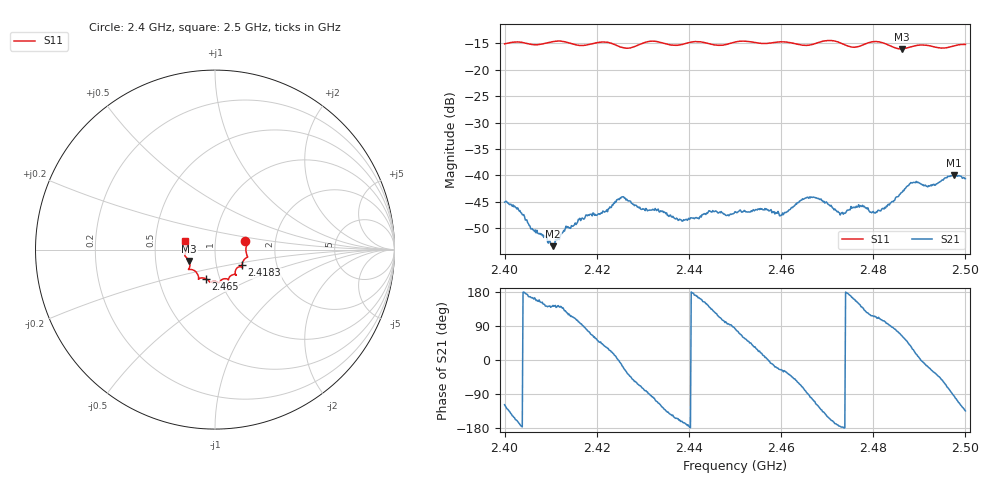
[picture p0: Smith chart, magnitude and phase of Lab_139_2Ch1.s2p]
# Hz S RI R 50
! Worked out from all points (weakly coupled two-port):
!   601 points, 2.4 GHz to 2.5 GHz, reference 50 ohm
!   highest |S21| = -39.95 dB at 2.4975 GHz (marker M1); lowest = -53.4 dB at 2.4105 GHz (marker M2)
!   lowest |S11| = -16.1 dB at 2.4862 GHz (marker M3), VSWR 1.37, Z = 37.2 - j4.84 ohm
!   |S11| at or under -10 dB: start of sweep to end of sweep
!   S12 and S22 are empty: the file has one direction only
!   S11 on the Smith chart (normalised r, x): 2.4 GHz: 1.40, +0.13; 2.4183 GHz: 1.33, -0.24; 2.465 GHz: 0.86, -0.29; 2.5 GHz: 0.71, +0.07
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2.4e9  0.1697 0.0458  -0.00262 -0.00493  0 0  0 0
2.4105e9  0.1806 -0.0371  -0.00173 0.00126  0 0  0 0
2.416667e9  0.155 -0.0682  -0.000369 0.00386  0 0  0 0
2.418333e9  0.1498 -0.0873  0.00113 0.00403  0 0  0 0
2.422e9  0.153 -0.0995  0.0038 0.00255  0 0  0 0
2.4255e9  0.1297 -0.0976  0.00603 -0.00168  0 0  0 0
2.433333e9  0.1176 -0.141  -0.00194 -0.0044  0 0  0 0
2.438167e9  0.0816 -0.1514  -0.00363 -0.00117  0 0  0 0
2.444833e9  0.0631 -0.1624  -0.00314 0.00326  0 0  0 0
2.45e9  0.0256 -0.1809  0.000576 0.00451  0 0  0 0
2.460167e9  -0.0281 -0.1815  0.00376 -0.00189  0 0  0 0
2.465e9  -0.0523 -0.1619  0.00134 -0.00586  0 0  0 0
2.466667e9  -0.0713 -0.1574  -0.00121 -0.0061  0 0  0 0
2.473333e9  -0.0921 -0.1496  -0.00445 -0.000253  0 0  0 0
2.477167e9  -0.1236 -0.1132  -0.00426 0.00295  0 0  0 0
2.480333e9  -0.1479 -0.1109  -0.00193 0.00402  0 0  0 0
2.483333e9  -0.1411 -0.0964  -0.000294 0.00533  0 0  0 0
2.486167e9  -0.1439 -0.0635  0.00294 0.00625  0 0  0 0
2.4885e9  -0.1602 -0.0437  0.00747 0.00406  0 0  0 0
2.492167e9  -0.1664 -0.027  0.00739 -0.00284  0 0  0 0
2.4975e9  -0.1647 0.032  -0.000733 -0.01  0 0  0 0
2.5e9  -0.1673 0.0465  -0.00652 -0.00668  0 0  0 0
